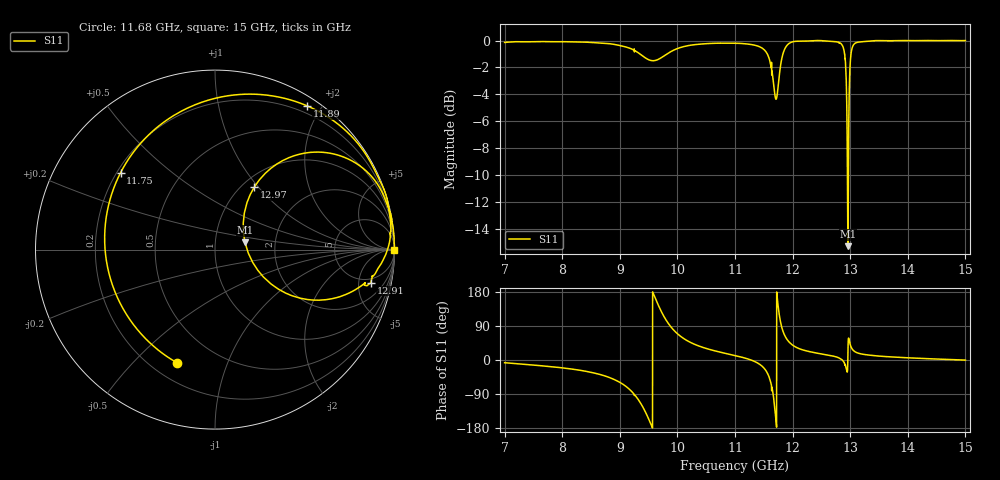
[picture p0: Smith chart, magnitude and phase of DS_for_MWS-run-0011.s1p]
! TOUCHSTONE file generated by CST DESIGN STUDIO
! Date and time: Mon Feb 10 16:45:33 2025
! Project name: C:\Work\MatlabApps\UnitCellType2OptimizationMatlab\CST\unitcell.cst
! Tree item: Tasks\Sweep1\SPara1\S-Parameters
! Header version: 2024
! Port assignment regex: !\s*Touchstone port\s*([0-9]+)\s*=\s*(CST MWS port|CST DES external port|CST DES block port)\s*(.+)\s* \(\"(.*)\"\)(\s*mode\s*([0-9]+))?.*
! Touchstone port assignment:
! Touchstone port 1 = CST DES external port 1 ("")
# GHz S MA R 50
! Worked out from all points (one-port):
!   4001 points, 7 GHz to 15 GHz, reference 50 ohm
!   lowest |S11| = -15.3 dB at 12.96 GHz (marker M1), VSWR 1.41, Z = 69.7 + j5.94 ohm
!   |S11| at or under -10 dB: 12.95173 GHz to 12.96802 GHz (16.29 MHz wide, 0.126 % of centre)
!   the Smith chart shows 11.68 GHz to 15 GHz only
!   S11 on the Smith chart (normalised r, x): 11.68 GHz: 0.30, -0.67; 11.75 GHz: 0.21, +0.34; 11.89 GHz: 0.11, +1.82; 12.91 GHz: 4.14, -7.17; 12.97 GHz: 1.14, +0.95; 15 GHz: open
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7  0.9838 -7.1
8  0.9901 -20.7
8.636  0.9794 -37.4
9  0.958 -59.0
9.334  0.8961 -107.5
9.564  0.8413 -178.0
9.764  0.8755 115.5
10  0.9333 69.4
10.362  0.9681 37.5
11  0.977 11.8
11.512  0.9218 -22.9
11.592  0.8585 -44.9
11.642  0.7697 -72.8
11.678  0.6647 -108.8
11.716  0.6053 -167.1
11.75  0.6787 140.7
11.806  0.8434 89.8
11.89  0.9512 57.3
12  0.9889 39.3
12.752  0.9897 8.5
12.906  0.8873 -12.0
12.96  0.1718 13.9
12.972  0.4116 57.9
13  0.823 41.0
13.046  0.9541 26.7
13.128  0.9849 18.6
14  0.999 5.8
15  0.9997 -0.3
